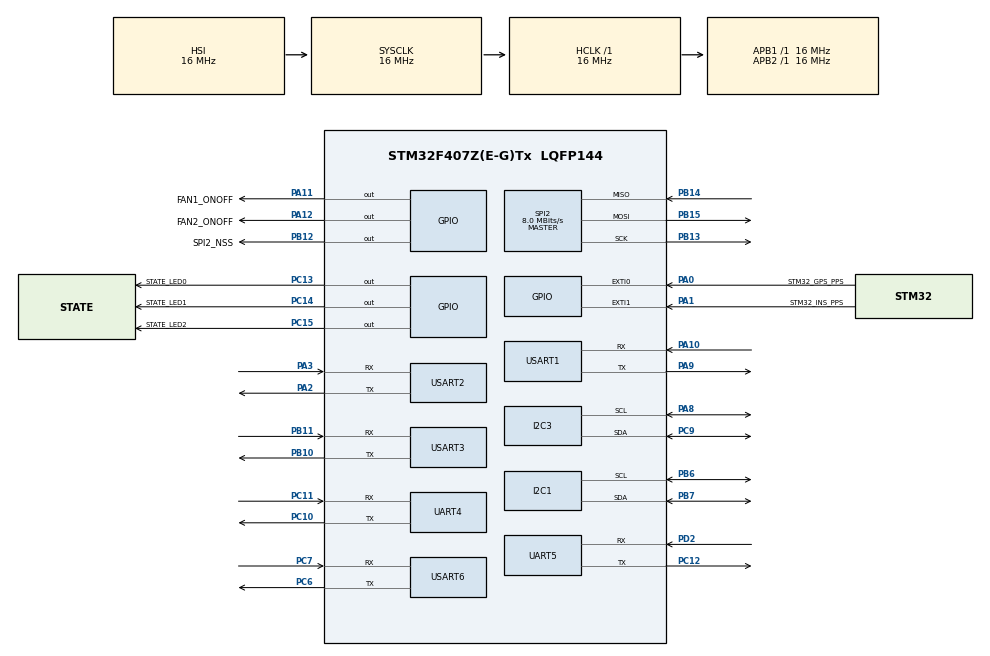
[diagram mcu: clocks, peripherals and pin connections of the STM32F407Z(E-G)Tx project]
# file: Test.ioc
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Mcu.Family=STM32F4
Mcu.Name=STM32F407Z(E-G)Tx
Mcu.Package=LQFP144
NVIC.PriorityGroup=NVIC_PRIORITYGROUP_4
NVIC.USART2_IRQn=true\:0\:0\:false\:false\:true\:true\:true\:true
PA0-WKUP.GPIO_Label=STM32_GPS_PPS
PA0-WKUP.Signal=GPXTI0
PA1.GPIO_Label=STM32_INS_PPS
PA1.Signal=GPXTI1
PA10.Mode=Asynchronous
PA10.Signal=USART1_RX
PA11.GPIO_Label=FAN1_ONOFF
PA11.Signal=GPIO_Output
PA12.GPIO_Label=FAN2_ONOFF
PA12.Signal=GPIO_Output
PA13.Mode=JTAG_5_pins
PA13.Signal=SYS_JTMS-SWDIO
PA14.Mode=JTAG_5_pins
PA14.Signal=SYS_JTCK-SWCLK
PA15.Mode=JTAG_5_pins
PA15.Signal=SYS_JTDI
PA2.Mode=Asynchronous
PA2.Signal=USART2_TX
PA3.Mode=Asynchronous
PA3.Signal=USART2_RX
PA8.GPIO_Pu=GPIO_PULLUP
PA8.Mode=I2C
PA8.Signal=I2C3_SCL
PA9.Mode=Asynchronous
PA9.Signal=USART1_TX
PB10.Mode=Asynchronous
PB10.Signal=USART3_TX
PB11.Mode=Asynchronous
PB11.Signal=USART3_RX
PB12.GPIO_Label=SPI2_NSS
PB12.Signal=GPIO_Output
PB13.Mode=Full_Duplex_Master
PB13.Signal=SPI2_SCK
PB14.Mode=Full_Duplex_Master
PB14.Signal=SPI2_MISO
PB15.Mode=Full_Duplex_Master
PB15.Signal=SPI2_MOSI
PB3.Mode=JTAG_5_pins
PB3.Signal=SYS_JTDO-SWO
PB4.Mode=JTAG_5_pins
PB4.Signal=SYS_JTRST
PB6.GPIO_Pu=GPIO_PULLUP
PB6.Mode=I2C
PB6.Signal=I2C1_SCL
PB7.GPIO_Pu=GPIO_PULLUP
PB7.Mode=I2C
PB7.Signal=I2C1_SDA
PC10.Mode=Asynchronous
PC10.Signal=UART4_TX
PC11.Mode=Asynchronous
PC11.Signal=UART4_RX
PC12.Mode=Asynchronous
PC12.Signal=UART5_TX
PC13-ANTI_TAMP.GPIO_Label=STATE_LED0
PC13-ANTI_TAMP.Signal=GPIO_Output
PC14-OSC32_IN.GPIO_Label=STATE_LED1
PC14-OSC32_IN.Signal=GPIO_Output
PC15-OSC32_OUT.GPIO_Label=STATE_LED2
PC15-OSC32_OUT.Signal=GPIO_Output
PC6.Mode=Asynchronous
PC6.Signal=USART6_TX
PC7.Mode=Asynchronous
PC7.Signal=USART6_RX
PC9.GPIO_Pu=GPIO_PULLUP
PC9.Mode=I2C
PC9.Signal=I2C3_SDA
PD2.Mode=Asynchronous
PD2.Signal=UART5_RX
PH0-OSC_IN.Mode=HSE-External-Oscillator
PH0-OSC_IN.Signal=RCC_OSC_IN
PH1-OSC_OUT.Mode=HSE-External-Oscillator
PH1-OSC_OUT.Signal=RCC_OSC_OUT
ProjectManager.HeapSize=0x200
ProjectManager.StackSize=0x400
ProjectManager.TargetToolchain=EWARM V8.32
RCC.AHBFreq_Value=16000000
RCC.APB1Freq_Value=16000000
RCC.APB2Freq_Value=16000000
RCC.CortexFreq_Value=16000000
RCC.HSE_VALUE=25000000
RCC.HSI_VALUE=16000000
RCC.LSE_VALUE=32768
RCC.SYSCLKFreq_VALUE=16000000
RCC.VCOOutputFreq_Value=192000000
SPI2.CalculateBaudRate=8.0 MBits/s
SPI2.Direction=SPI_DIRECTION_2LINES
SPI2.Mode=SPI_MODE_MASTER
SPI2.VirtualType=VM_MASTER
UART4.VirtualMode=Asynchronous
UART5.VirtualMode=Asynchronous
USART1.VirtualMode=VM_ASYNC
USART2.VirtualMode=VM_ASYNC
USART3.VirtualMode=VM_ASYNC
USART6.VirtualMode=VM_ASYNC
board=custom

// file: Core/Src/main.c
/* USER CODE BEGIN Header */
/**
******************************************************************************
* @file           : main.c
* @brief          : Main program body
******************************************************************************
* @attention
*
* Copyright (c) 2022 STMicroelectronics.
* All rights reserved.
*
* This software is licensed under terms that can be found in the LICENSE file
* in the root directory of this software component.
* If no LICENSE file comes with this software, it is provided AS-IS.
*
******************************************************************************
*/
/* USER CODE END Header */
#include "main.h"

/* USER CODE BEGIN Includes */
#include "math.h"
/* USER CODE END Includes */

I2C_HandleTypeDef hi2c1;
I2C_HandleTypeDef hi2c3;

SPI_HandleTypeDef hspi2;

UART_HandleTypeDef huart4;
UART_HandleTypeDef huart5;
UART_HandleTypeDef huart1;
UART_HandleTypeDef huart2;
UART_HandleTypeDef huart3;
UART_HandleTypeDef huart6;

void SystemClock_Config(void);
static void MX_GPIO_Init(void);
static void MX_I2C3_Init(void);
static void MX_UART4_Init(void);
static void MX_UART5_Init(void);
static void MX_USART1_UART_Init(void);
static void MX_USART2_UART_Init(void);
static void MX_USART3_UART_Init(void);
static void MX_USART6_UART_Init(void);
static void MX_SPI2_Init(void);
static void MX_I2C1_Init(void);

/* USER CODE BEGIN 0 */

float temperature_f =0.0;

uint8_t USART_RX_FLAG = 0;
uint8_t temp_rx =0;
void HAL_UART_RxCpltCallback(UART_HandleTypeDef *huart)
{

  // USART1 Rx Interrupt
  if (huart->Instance == USART2) {

    if(temp_rx == '1'){
      USART_RX_FLAG =1;
    }
    else if(temp_rx == '2'){
      USART_RX_FLAG = 2;
    }

    HAL_UART_Receive_IT(&huart2, &temp_rx, 1);
  }
}

#define TSYS01_ADDR                        0x77
#define TSYS01_RESET                       0x1E
#define TSYS01_ADC_READ                    0x00
#define TSYS01_ADC_TEMP_CONV               0x48
#define TSYS01_PROM_READ                   0XA0

double I2C_Temperature(){

  uint8_t adc_read[5]={0};
  uint8_t adc_k2[2]={0};
  uint8_t adc_k3[2]={0};
  uint8_t adc_k4[2]={0};
  uint8_t adc_k1[2]={0};
  uint8_t adc_k0[2]={0};

  uint16_t adc_Coefficient[5]={0};
  uint64_t adc_data=0;

  uint16_t adc_read_addr = TSYS01_ADC_READ;
  uint16_t adc_prom_read = TSYS01_PROM_READ;
  uint8_t adc_start_addr = TSYS01_ADC_TEMP_CONV;

  double temperature_d = 0.0;
  HAL_I2C_Master_Transmit(&hi2c3,TSYS01_ADDR<<1,&adc_start_addr,1,100);

  HAL_Delay(10);
  HAL_I2C_Mem_Read(&hi2c3,TSYS01_ADDR<<1,adc_read_addr,1,adc_read,3,100);
  HAL_Delay(10);
  adc_data = 0;
  adc_data = adc_read[0];
  adc_data = (adc_data << 8) | adc_read[1];
  adc_data = (adc_data << 8) | adc_read[2];

  adc_data= adc_data/256;

  HAL_I2C_Mem_Read(&hi2c3,TSYS01_ADDR<<1,adc_prom_read+2,1,adc_k4,2,100);
  HAL_Delay(10);

  HAL_I2C_Mem_Read(&hi2c3,TSYS01_ADDR<<1,adc_prom_read+4,1,adc_k3,2,100);
  HAL_Delay(10);

  HAL_I2C_Mem_Read(&hi2c3,TSYS01_ADDR<<1,adc_prom_read+6,1,adc_k2,2,100);
  HAL_Delay(10);

  HAL_I2C_Mem_Read(&hi2c3,TSYS01_ADDR<<1,adc_prom_read+8,1,adc_k1,2,100);
  HAL_Delay(10);

  HAL_I2C_Mem_Read(&hi2c3,TSYS01_ADDR<<1,adc_prom_read+10,1,adc_k0,2,100);
  HAL_Delay(10);

  adc_Coefficient[0] = (uint16_t)((adc_k4[0] << 8) + adc_k4[1]);
  adc_Coefficient[1] = (uint16_t)((adc_k3[0] << 8) + adc_k3[1]);
  adc_Coefficient[2] = (uint16_t)((adc_k2[0] << 8) + adc_k2[1]);
  adc_Coefficient[3] = (uint16_t)((adc_k1[0] << 8) + adc_k1[1]);
  adc_Coefficient[4] = (uint16_t)((adc_k0[0] << 8) + adc_k0[1]);

  temperature_d = ((-2)*adc_Coefficient[0]/pow(10,21)*pow(adc_data,4))\
    +((4)*adc_Coefficient[1]/pow(10,16)*pow(adc_data,3))\
      +((-2)*adc_Coefficient[2]/pow(10,11)*pow(adc_data,2))\
        +((1)*adc_Coefficient[3]/pow(10,6)*adc_data)\
          +((-1.5)*adc_Coefficient[4]/pow(10,2));

  return temperature_d;

}
/* USER CODE END 0 */

int main(void)
{

  /* MCU Configuration--------------------------------------------------------*/

  /* Reset of all peripherals, Initializes the Flash interface and the Systick. */
  HAL_Init();

  /* Configure the system clock */
  SystemClock_Config();

  /* Initialize all configured peripherals */
  MX_GPIO_Init();
  MX_I2C3_Init();
  MX_UART4_Init();
  MX_UART5_Init();
  MX_USART1_UART_Init();
  MX_USART2_UART_Init();
  MX_USART3_UART_Init();
  MX_USART6_UART_Init();
  MX_SPI2_Init();
  MX_I2C1_Init();
  /* USER CODE BEGIN 2 */
  HAL_UART_Receive_IT(&huart2, &temp_rx, 1);
  /* USER CODE END 2 */

  /* Infinite loop */
  /* USER CODE BEGIN WHILE */

  uint8_t tx_buff[20]=0;

  uint8_t eee = 0x1E;

  HAL_I2C_Master_Transmit(&hi2c3,TSYS01_ADDR<<1,&eee,1,100);
  HAL_Delay(10);

  while (1)
  {

    temperature_f = I2C_Temperature();

    if(USART_RX_FLAG == 1){
      sprintf(tx_buff,"%.2f \u2103\r\n",temperature_f);
      HAL_UART_Transmit(&huart2,tx_buff,sizeof(tx_buff),1);
      HAL_Delay(1000);

    }
    else if(USART_RX_FLAG == 2){

    }
    /* USER CODE END WHILE */

  }
}

void SystemClock_Config(void)
{
  RCC_OscInitTypeDef RCC_OscInitStruct = {0};
  RCC_ClkInitTypeDef RCC_ClkInitStruct = {0};

  /** Configure the main internal regulator output voltage
  */
  __HAL_RCC_PWR_CLK_ENABLE();
  __HAL_PWR_VOLTAGESCALING_CONFIG(PWR_REGULATOR_VOLTAGE_SCALE1);

  /** Initializes the RCC Oscillators according to the specified parameters
  * in the RCC_OscInitTypeDef structure.
  */
  RCC_OscInitStruct.OscillatorType = RCC_OSCILLATORTYPE_HSI;
  RCC_OscInitStruct.HSIState = RCC_HSI_ON;
  RCC_OscInitStruct.HSICalibrationValue = RCC_HSICALIBRATION_DEFAULT;
  RCC_OscInitStruct.PLL.PLLState = RCC_PLL_NONE;
  if (HAL_RCC_OscConfig(&RCC_OscInitStruct) != HAL_OK)
  {
    Error_Handler();
  }

  /** Initializes the CPU, AHB and APB buses clocks
  */
  RCC_ClkInitStruct.ClockType = RCC_CLOCKTYPE_HCLK|RCC_CLOCKTYPE_SYSCLK
    |RCC_CLOCKTYPE_PCLK1|RCC_CLOCKTYPE_PCLK2;
  RCC_ClkInitStruct.SYSCLKSource = RCC_SYSCLKSOURCE_HSI;
  RCC_ClkInitStruct.AHBCLKDivider = RCC_SYSCLK_DIV1;
  RCC_ClkInitStruct.APB1CLKDivider = RCC_HCLK_DIV1;
  RCC_ClkInitStruct.APB2CLKDivider = RCC_HCLK_DIV1;

  if (HAL_RCC_ClockConfig(&RCC_ClkInitStruct, FLASH_LATENCY_0) != HAL_OK)
  {
    Error_Handler();
  }
}

static void MX_I2C1_Init(void)
{

  hi2c1.Instance = I2C1;
  hi2c1.Init.ClockSpeed = 100000;
  hi2c1.Init.DutyCycle = I2C_DUTYCYCLE_2;
  hi2c1.Init.OwnAddress1 = 0;
  hi2c1.Init.AddressingMode = I2C_ADDRESSINGMODE_7BIT;
  hi2c1.Init.DualAddressMode = I2C_DUALADDRESS_DISABLE;
  hi2c1.Init.OwnAddress2 = 0;
  hi2c1.Init.GeneralCallMode = I2C_GENERALCALL_DISABLE;
  hi2c1.Init.NoStretchMode = I2C_NOSTRETCH_DISABLE;
  if (HAL_I2C_Init(&hi2c1) != HAL_OK)
  {
    Error_Handler();
  }

}

static void MX_I2C3_Init(void)
{

  hi2c3.Instance = I2C3;
  hi2c3.Init.ClockSpeed = 100000;
  hi2c3.Init.DutyCycle = I2C_DUTYCYCLE_2;
  hi2c3.Init.OwnAddress1 = 0;
  hi2c3.Init.AddressingMode = I2C_ADDRESSINGMODE_7BIT;
  hi2c3.Init.DualAddressMode = I2C_DUALADDRESS_DISABLE;
  hi2c3.Init.OwnAddress2 = 0;
  hi2c3.Init.GeneralCallMode = I2C_GENERALCALL_DISABLE;
  hi2c3.Init.NoStretchMode = I2C_NOSTRETCH_DISABLE;
  if (HAL_I2C_Init(&hi2c3) != HAL_OK)
  {
    Error_Handler();
  }

}

static void MX_SPI2_Init(void)
{

  /* SPI2 parameter configuration*/
  hspi2.Instance = SPI2;
  hspi2.Init.Mode = SPI_MODE_MASTER;
  hspi2.Init.Direction = SPI_DIRECTION_2LINES;
  hspi2.Init.DataSize = SPI_DATASIZE_8BIT;
  hspi2.Init.CLKPolarity = SPI_POLARITY_LOW;
  hspi2.Init.CLKPhase = SPI_PHASE_1EDGE;
  hspi2.Init.NSS = SPI_NSS_SOFT;
  hspi2.Init.BaudRatePrescaler = SPI_BAUDRATEPRESCALER_2;
  hspi2.Init.FirstBit = SPI_FIRSTBIT_MSB;
  hspi2.Init.TIMode = SPI_TIMODE_DISABLE;
  hspi2.Init.CRCCalculation = SPI_CRCCALCULATION_DISABLE;
  hspi2.Init.CRCPolynomial = 10;
  if (HAL_SPI_Init(&hspi2) != HAL_OK)
  {
    Error_Handler();
  }

}

static void MX_UART4_Init(void)
{

  huart4.Instance = UART4;
  huart4.Init.BaudRate = 115200;
  huart4.Init.WordLength = UART_WORDLENGTH_8B;
  huart4.Init.StopBits = UART_STOPBITS_1;
  huart4.Init.Parity = UART_PARITY_NONE;
  huart4.Init.Mode = UART_MODE_TX_RX;
  huart4.Init.HwFlowCtl = UART_HWCONTROL_NONE;
  huart4.Init.OverSampling = UART_OVERSAMPLING_16;
  if (HAL_UART_Init(&huart4) != HAL_OK)
  {
    Error_Handler();
  }

}

static void MX_UART5_Init(void)
{

  huart5.Instance = UART5;
  huart5.Init.BaudRate = 115200;
  huart5.Init.WordLength = UART_WORDLENGTH_8B;
  huart5.Init.StopBits = UART_STOPBITS_1;
  huart5.Init.Parity = UART_PARITY_NONE;
  huart5.Init.Mode = UART_MODE_TX_RX;
  huart5.Init.HwFlowCtl = UART_HWCONTROL_NONE;
  huart5.Init.OverSampling = UART_OVERSAMPLING_16;
  if (HAL_UART_Init(&huart5) != HAL_OK)
  {
    Error_Handler();
  }

}

static void MX_USART1_UART_Init(void)
{

  huart1.Instance = USART1;
  huart1.Init.BaudRate = 115200;
  huart1.Init.WordLength = UART_WORDLENGTH_8B;
  huart1.Init.StopBits = UART_STOPBITS_1;
  huart1.Init.Parity = UART_PARITY_NONE;
  huart1.Init.Mode = UART_MODE_TX_RX;
  huart1.Init.HwFlowCtl = UART_HWCONTROL_NONE;
  huart1.Init.OverSampling = UART_OVERSAMPLING_16;
  if (HAL_UART_Init(&huart1) != HAL_OK)
  {
    Error_Handler();
  }

}

static void MX_USART2_UART_Init(void)
{

  huart2.Instance = USART2;
  huart2.Init.BaudRate = 115200;
  huart2.Init.WordLength = UART_WORDLENGTH_8B;
  huart2.Init.StopBits = UART_STOPBITS_1;
  huart2.Init.Parity = UART_PARITY_NONE;
  huart2.Init.Mode = UART_MODE_TX_RX;
  huart2.Init.HwFlowCtl = UART_HWCONTROL_NONE;
  huart2.Init.OverSampling = UART_OVERSAMPLING_16;
  if (HAL_UART_Init(&huart2) != HAL_OK)
  {
    Error_Handler();
  }

}

static void MX_USART3_UART_Init(void)
{

  huart3.Instance = USART3;
  huart3.Init.BaudRate = 115200;
  huart3.Init.WordLength = UART_WORDLENGTH_8B;
  huart3.Init.StopBits = UART_STOPBITS_1;
  huart3.Init.Parity = UART_PARITY_NONE;
  huart3.Init.Mode = UART_MODE_TX_RX;
  huart3.Init.HwFlowCtl = UART_HWCONTROL_NONE;
  huart3.Init.OverSampling = UART_OVERSAMPLING_16;
  if (HAL_UART_Init(&huart3) != HAL_OK)
  {
    Error_Handler();
  }

}

static void MX_USART6_UART_Init(void)
{

  huart6.Instance = USART6;
  huart6.Init.BaudRate = 115200;
  huart6.Init.WordLength = UART_WORDLENGTH_8B;
  huart6.Init.StopBits = UART_STOPBITS_1;
  huart6.Init.Parity = UART_PARITY_NONE;
  huart6.Init.Mode = UART_MODE_TX_RX;
  huart6.Init.HwFlowCtl = UART_HWCONTROL_NONE;
  huart6.Init.OverSampling = UART_OVERSAMPLING_16;
  if (HAL_UART_Init(&huart6) != HAL_OK)
  {
    Error_Handler();
  }

}

static void MX_GPIO_Init(void)
{
  GPIO_InitTypeDef GPIO_InitStruct = {0};

  /* GPIO Ports Clock Enable */
  __HAL_RCC_GPIOC_CLK_ENABLE();
  __HAL_RCC_GPIOH_CLK_ENABLE();
  __HAL_RCC_GPIOA_CLK_ENABLE();
  __HAL_RCC_GPIOB_CLK_ENABLE();
  __HAL_RCC_GPIOD_CLK_ENABLE();

  /*Configure GPIO pin Output Level */
  HAL_GPIO_WritePin(GPIOC, STATE_LED0_Pin|STATE_LED1_Pin|STATE_LED2_Pin, GPIO_PIN_RESET);

  /*Configure GPIO pin Output Level */
  HAL_GPIO_WritePin(SPI2_NSS_GPIO_Port, SPI2_NSS_Pin, GPIO_PIN_RESET);

  /*Configure GPIO pin Output Level */
  HAL_GPIO_WritePin(GPIOA, FAN1_ONOFF_Pin|FAN2_ONOFF_Pin, GPIO_PIN_RESET);

  /*Configure GPIO pins : STATE_LED0_Pin STATE_LED1_Pin STATE_LED2_Pin */
  GPIO_InitStruct.Pin = STATE_LED0_Pin|STATE_LED1_Pin|STATE_LED2_Pin;
  GPIO_InitStruct.Mode = GPIO_MODE_OUTPUT_PP;
  GPIO_InitStruct.Pull = GPIO_NOPULL;
  GPIO_InitStruct.Speed = GPIO_SPEED_FREQ_LOW;
  HAL_GPIO_Init(GPIOC, &GPIO_InitStruct);

  /*Configure GPIO pins : STM32_GPS_PPS_Pin STM32_INS_PPS_Pin */
  GPIO_InitStruct.Pin = STM32_GPS_PPS_Pin|STM32_INS_PPS_Pin;
  GPIO_InitStruct.Mode = GPIO_MODE_IT_RISING;
  GPIO_InitStruct.Pull = GPIO_NOPULL;
  HAL_GPIO_Init(GPIOA, &GPIO_InitStruct);

  /*Configure GPIO pin : SPI2_NSS_Pin */
  GPIO_InitStruct.Pin = SPI2_NSS_Pin;
  GPIO_InitStruct.Mode = GPIO_MODE_OUTPUT_PP;
  GPIO_InitStruct.Pull = GPIO_NOPULL;
  GPIO_InitStruct.Speed = GPIO_SPEED_FREQ_LOW;
  HAL_GPIO_Init(SPI2_NSS_GPIO_Port, &GPIO_InitStruct);

  /*Configure GPIO pins : FAN1_ONOFF_Pin FAN2_ONOFF_Pin */
  GPIO_InitStruct.Pin = FAN1_ONOFF_Pin|FAN2_ONOFF_Pin;
  GPIO_InitStruct.Mode = GPIO_MODE_OUTPUT_PP;
  GPIO_InitStruct.Pull = GPIO_NOPULL;
  GPIO_InitStruct.Speed = GPIO_SPEED_FREQ_LOW;
  HAL_GPIO_Init(GPIOA, &GPIO_InitStruct);

}

void Error_Handler(void)
{
  __disable_irq();
  while (1)
  {
  }
}
